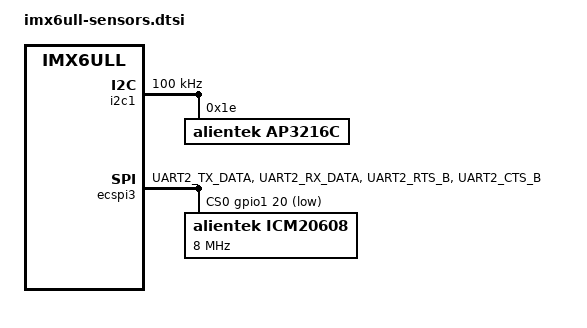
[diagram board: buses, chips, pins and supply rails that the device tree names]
/*
 * Minimal sensor-related delta extracted from the project's ALIENTEK
 * i.MX6ULL eMMC board DTS.  Include this from the board DTS or merge the
 * nodes manually after checking for pin conflicts in the BSP baseline.
 */

&i2c1 {
	clock-frequency = <100000>;
	pinctrl-names = "default";
	pinctrl-0 = <&pinctrl_i2c1>;
	status = "okay";

	ap3216c: light-proximity@1e {
		compatible = "alientek,ap3216c";
		reg = <0x1e>;
		status = "okay";
	};
};

&iomuxc {
	pinctrl_ecspi3_icm20608: icm20608grp {
		fsl,pins = <
			MX6UL_PAD_UART2_TX_DATA__GPIO1_IO20    0x10b0
			MX6UL_PAD_UART2_RX_DATA__ECSPI3_SCLK  0x10b1
			MX6UL_PAD_UART2_RTS_B__ECSPI3_MISO    0x10b1
			MX6UL_PAD_UART2_CTS_B__ECSPI3_MOSI    0x10b1
		>;
	};
};

&ecspi3 {
	fsl,spi-num-chipselects = <1>;
	cs-gpios = <&gpio1 20 GPIO_ACTIVE_LOW>;
	pinctrl-names = "default";
	pinctrl-0 = <&pinctrl_ecspi3_icm20608>;
	status = "okay";

	icm20608: imu@0 {
		compatible = "alientek,icm20608";
		reg = <0>;
		spi-max-frequency = <8000000>;
		status = "okay";
	};
};
